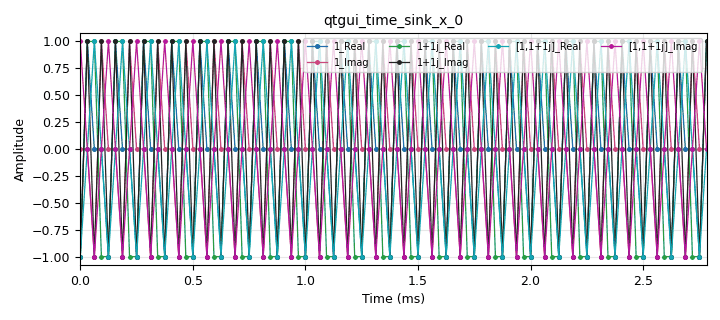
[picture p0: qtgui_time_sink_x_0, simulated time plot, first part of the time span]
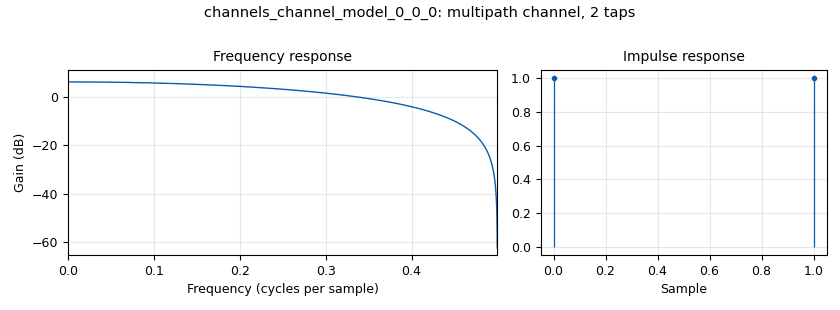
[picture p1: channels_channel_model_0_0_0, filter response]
<?xml version='1.0' encoding='utf-8'?>
<?grc format='1' created='3.7.10'?>
<flow_graph>
<block>
<key>options</key>
<param><key>id</key><value>top_block</value></param>
<param><key>generate_options</key><value>qt_gui</value></param>
</block>
<block>
<key>variable</key>
<param><key>id</key><value>samp_rate</value></param>
<param><key>value</key><value>32000</value></param>
</block>
<block>
<key>variable</key>
<param><key>id</key><value>taps1</value></param>
<param><key>value</key><value>1</value></param>
</block>
<block>
<key>variable</key>
<param><key>id</key><value>taps2</value></param>
<param><key>value</key><value>1+1j</value></param>
</block>
<block>
<key>variable</key>
<param><key>id</key><value>taps3</value></param>
<param><key>value</key><value>1, 1</value></param>
</block>
<block>
<key>blocks_throttle</key>
<param><key>id</key><value>blocks_throttle_0</value></param>
<param><key>samples_per_second</key><value>samp_rate</value></param>
<param><key>type</key><value>complex</value></param>
</block>
<block>
<key>blocks_vector_source_x</key>
<param><key>id</key><value>blocks_vector_source_x_0</value></param>
<param><key>type</key><value>complex</value></param>
<param><key>repeat</key><value>True</value></param>
<param><key>vector</key><value>(1+0j, 0-1j, 0+1j, -1+0j)</value></param>
</block>
<block>
<key>channels_channel_model</key>
<param><key>id</key><value>channels_channel_model_0</value></param>
<param><key>epsilon</key><value>1.0</value></param>
<param><key>freq_offset</key><value>0.0</value></param>
<param><key>noise_voltage</key><value>0.0</value></param>
<param><key>seed</key><value>0</value></param>
<param><key>taps</key><value>taps1</value></param>
</block>
<block>
<key>channels_channel_model</key>
<param><key>id</key><value>channels_channel_model_0_0</value></param>
<param><key>epsilon</key><value>1.0</value></param>
<param><key>freq_offset</key><value>0.0</value></param>
<param><key>noise_voltage</key><value>0.0</value></param>
<param><key>seed</key><value>0</value></param>
<param><key>taps</key><value>taps2</value></param>
</block>
<block>
<key>channels_channel_model</key>
<param><key>id</key><value>channels_channel_model_0_0_0</value></param>
<param><key>epsilon</key><value>1.0</value></param>
<param><key>freq_offset</key><value>0.0</value></param>
<param><key>noise_voltage</key><value>0.0</value></param>
<param><key>seed</key><value>0</value></param>
<param><key>taps</key><value>taps3</value></param>
</block>
<block>
<key>qtgui_time_sink_x</key>
<param><key>id</key><value>qtgui_time_sink_x_0</value></param>
<param><key>color1</key><value>"blue"</value></param>
<param><key>label1</key><value>1_Real</value></param>
<param><key>marker1</key><value>0</value></param>
<param><key>color2</key><value>"red"</value></param>
<param><key>label2</key><value>1_Imag</value></param>
<param><key>marker2</key><value>0</value></param>
<param><key>color3</key><value>"green"</value></param>
<param><key>label3</key><value>1+1j_Real</value></param>
<param><key>marker3</key><value>0</value></param>
<param><key>color4</key><value>"black"</value></param>
<param><key>label4</key><value>1+1j_Imag</value></param>
<param><key>marker4</key><value>0</value></param>
<param><key>color5</key><value>"cyan"</value></param>
<param><key>label5</key><value>[1,1+1j]_Real</value></param>
<param><key>marker5</key><value>0</value></param>
<param><key>color6</key><value>"magenta"</value></param>
<param><key>label6</key><value>[1,1+1j]_Imag</value></param>
<param><key>marker6</key><value>0</value></param>
<param><key>nconnections</key><value>3</value></param>
<param><key>size</key><value>1024</value></param>
<param><key>srate</key><value>samp_rate</value></param>
<param><key>type</key><value>complex</value></param>
</block>
<connection><source_block_id>blocks_throttle_0</source_block_id><sink_block_id>channels_channel_model_0</sink_block_id><source_key>0</source_key><sink_key>0</sink_key></connection>
<connection><source_block_id>blocks_throttle_0</source_block_id><sink_block_id>channels_channel_model_0_0</sink_block_id><source_key>0</source_key><sink_key>0</sink_key></connection>
<connection><source_block_id>blocks_throttle_0</source_block_id><sink_block_id>channels_channel_model_0_0_0</sink_block_id><source_key>0</source_key><sink_key>0</sink_key></connection>
<connection><source_block_id>blocks_vector_source_x_0</source_block_id><sink_block_id>blocks_throttle_0</sink_block_id><source_key>0</source_key><sink_key>0</sink_key></connection>
<connection><source_block_id>channels_channel_model_0</source_block_id><sink_block_id>qtgui_time_sink_x_0</sink_block_id><source_key>0</source_key><sink_key>0</sink_key></connection>
<connection><source_block_id>channels_channel_model_0_0</source_block_id><sink_block_id>qtgui_time_sink_x_0</sink_block_id><source_key>0</source_key><sink_key>1</sink_key></connection>
<connection><source_block_id>channels_channel_model_0_0_0</source_block_id><sink_block_id>qtgui_time_sink_x_0</sink_block_id><source_key>0</source_key><sink_key>2</sink_key></connection>
</flow_graph>
